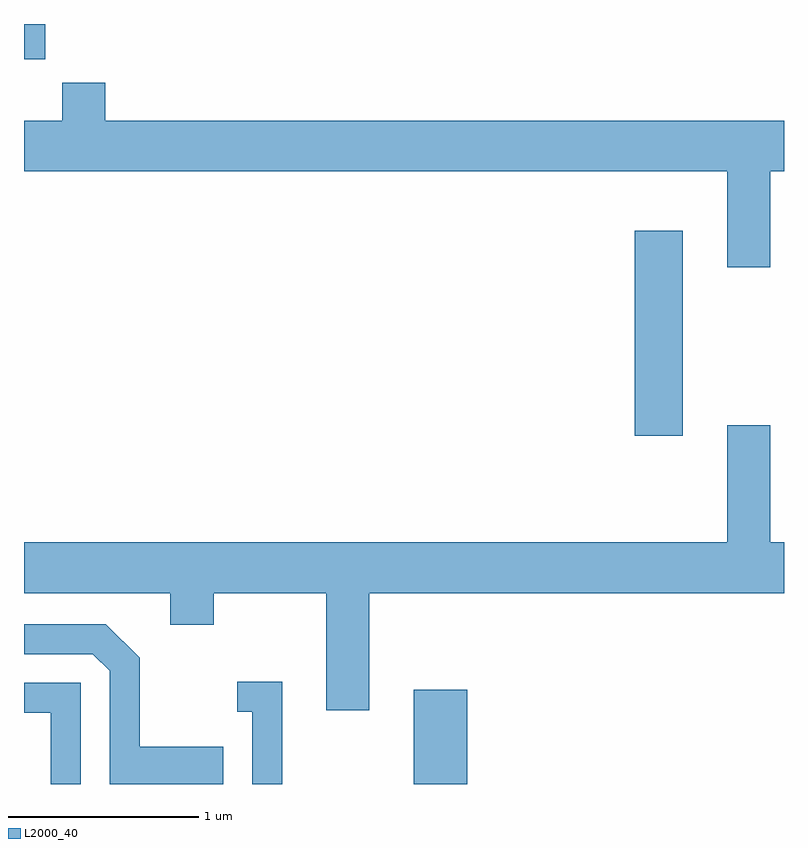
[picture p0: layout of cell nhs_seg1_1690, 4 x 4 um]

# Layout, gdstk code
import gdstk
lib = gdstk.Library(unit=1e-6, precision=1e-09)
def R(c, l, rs):  # rectangles x0, y0, x1, y1
    for r in rs: c.add(gdstk.rectangle(r[:2], r[2:], *l))
def P(c, l, *ps):  # polygons
    for p in ps: c.add(gdstk.Polygon(p, *l))
L2000_40 = (2000, 40)

nhs_seg1_1690 = lib.new_cell('nhs_seg1_1690')
R(nhs_seg1_1690, L2000_40, [(239.661,869.712,239.944,870.209), (240.826,871.546,241.079,872.624), (237.611,873.526,237.724,873.712)])
P(nhs_seg1_1690, L2000_40, [(241.539,872.936),(241.611,872.936),(241.611,873.204),(238.039,873.204),(238.039,873.404),(237.811,873.404),(237.811,873.204),(237.611,873.204),(237.611,872.936),(241.311,872.936),(241.311,872.431),(241.539,872.431)],
  [(241.311,871.599),(241.311,870.984),(237.611,870.984),(237.611,870.716),(238.381,870.716),(238.381,870.551),(238.609,870.551),(238.609,870.716),(239.201,870.716),(239.201,870.101),(239.429,870.101),(239.429,870.716),(241.611,870.716),(241.611,870.984),(241.539,870.984),(241.539,871.599)],
  [(238.659,869.909),(238.219,869.909),(238.219,870.377),(238.042,870.554),(237.611,870.554),(237.611,870.396),(237.974,870.396),(238.061,870.309),(238.061,869.712),(238.659,869.712)],
  [(238.969,870.249),(238.733,870.249),(238.733,870.091),(238.811,870.091),(238.811,869.712),(238.969,869.712)],
  [(237.909,870.244),(237.611,870.244),(237.611,870.086),(237.751,870.086),(237.751,869.712),(237.909,869.712)])

lib.write_gds('nhs_seg1_1690.gds')
